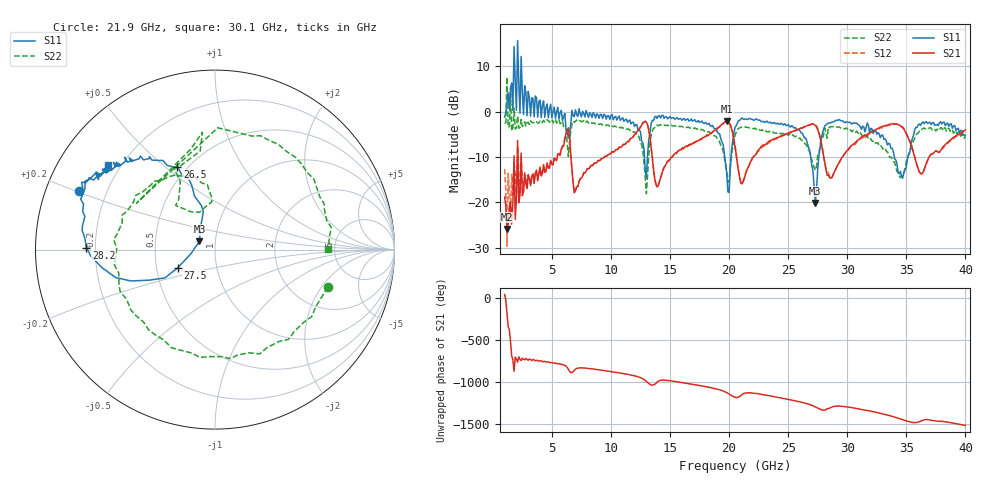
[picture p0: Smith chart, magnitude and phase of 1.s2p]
!Keysight Technologies,N5224A,MY55441802,A.10.65.16
!Date: Wednesday, May 13, 2026 19:11:50
!Correction: S11(Full 2 Port(1,2))
!S21(Full 2 Port(1,2))
!S12(Full 2 Port(1,2))
!S22(Full 2 Port(1,2))
!S2P File: Measurements: S11, S21, S12, S22:
# Hz S  dB  R 50
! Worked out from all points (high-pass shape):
!   391 points, 1 GHz to 40 GHz, reference 50 ohm
!   highest |S21| = -2.18 dB at 19.8 GHz (marker M1); lowest = -25.9 dB at 1.2 GHz (marker M2)
!   |S21| within 3 dB of the highest: 24.59 GHz to 27.64 GHz (3.055 GHz wide, 11.7 % of centre); 31.65 GHz to 35.05 GHz (3.399 GHz wide, 10.2 % of centre) (the widest 2 of 7)
!   lowest |S11| = -20.2 dB at 27.3 GHz (marker M3), VSWR 1.22, Z = 41.8 + j3.83 ohm
!   |S11| at or under -10 dB: 19.63 GHz to 20.16 GHz (533.1 MHz wide, 2.68 % of centre); 26.9 GHz to 27.59 GHz (691 MHz wide, 2.54 % of centre); 33.98 GHz to 35.14 GHz (1.166 GHz wide, 3.37 % of centre) (the widest 3 of 4)
!   |S22| runs from -18.1 to 7.6 dB; largest |S21 - S12| = 0.17
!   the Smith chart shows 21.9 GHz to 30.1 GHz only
!   S11 on the Smith chart (normalised r, x): 21.9 GHz: 0.10, +0.20; 26.5 GHz: 0.44, +0.55; 27.5 GHz: 0.64, -0.14; 28.2 GHz: 0.17, +0.01; 30.1 GHz: 0.15, +0.34
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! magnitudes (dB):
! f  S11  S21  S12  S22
! 1 GHz  -1.2  -18.8  -12.6  -2.5
! 1.2 GHz  1.8  -25.9  -29.7  7.6
! 1.3 GHz  4.1  -24.9  -13.7  -3.5
! 1.8 GHz  14.3  -9.8  -11.5  0.8
! 2 GHz  0.3  -19.3  -18.3  -3.7
! 2.1 GHz  15.7  -6.4  -7.7  -1.0
! 2.3 GHz  -0.4  -18.5  -18.1  -3.5
! 2.4 GHz  12.2  -9.2  -10.0  -1.7
! 7.5 GHz  -1.2  -14.7  -14.6  -2.3
! 13 GHz  -14.7  -2.3  -2.3  -18.1
! 14 GHz  -1.0  -16.4  -16.4  -3.1
! 19.8 GHz  -13.5  -2.2  -2.2  -13.6
! 20.5 GHz  -3.5  -7.7  -7.5  -5.3
! 21.9 GHz  -1.7  -10.6  -10.8  -3.6
! 26.5 GHz  -5.9  -3.2  -3.3  -7.3
! 27 GHz  -11.9  -2.8  -2.7  -10.7
! 27.3 GHz  -20.2  -3.0  -2.9  -13.0
! 27.5 GHz  -12.7  -4.0  -3.7  -9.6
! 28.2 GHz  -2.9  -12.8  -12.5  -4.8
! 30.1 GHz  -2.4  -8.2  -8.4  -4.0
! 33.5 GHz  -7.0  -2.9  -3.1  -9.3
! 40 GHz  -5.3  -4.0  -4.3  -5.4
